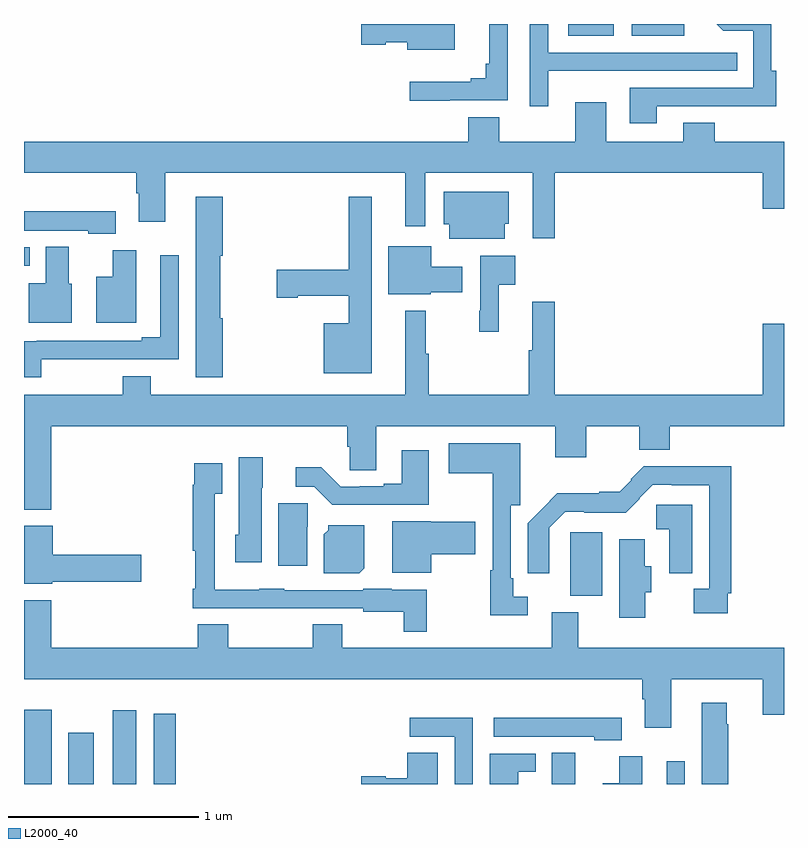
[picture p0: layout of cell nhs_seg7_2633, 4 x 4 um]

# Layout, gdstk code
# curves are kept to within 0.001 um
import gdstk
lib = gdstk.Library(unit=1e-6, precision=1e-09)
def R(c, l, rs):  # rectangles x0, y0, x1, y1
    for r in rs: c.add(gdstk.rectangle(r[:2], r[2:], *l))
def P(c, l, *ps):  # polygons
    for p in ps: c.add(gdstk.Polygon(p, *l))
L2000_40 = (2000, 40)

nhs_seg7_2633 = lib.new_cell('nhs_seg7_2633')
R(nhs_seg7_2633, L2000_40, [(281,1064,281.146,1064.392), (281.234,1064,281.368,1064.269), (281.468,1064,281.59,1064.389), (281.682,1064,281.798,1064.371), (283.778,1064,283.9,1064.164), (284.382,1064,284.478,1064.119), (283.874,1064.99,284.044,1065.324), (281,1066.728,281.029,1066.824), (283.865,1067.939,284.104,1068), (284.198,1067.939,284.476,1068)])
P(nhs_seg7_2633, L2000_40, [(283.267,1068),(282.774,1068),(282.774,1067.891),(282.903,1067.891),(282.903,1067.903),(283.016,1067.903),(283.016,1067.864),(283.267,1067.864)],
  [(283.759,1067.753),(284.093,1067.753),(284.093,1067.754),(284.753,1067.754),(284.753,1067.85),(283.758,1067.85),(283.758,1068),(283.662,1068),(283.662,1067.568),(283.759,1067.568)],
  [(283.241,1067.598),(283.545,1067.598),(283.545,1068),(283.448,1068),(283.448,1067.791),(283.429,1067.791),(283.429,1067.714),(283.352,1067.714),(283.352,1067.695),(283.029,1067.695),(283.029,1067.597),(283.241,1067.597)],
  [(284.329,1067.568),(284.959,1067.567),(284.959,1067.754),(284.934,1067.754),(284.934,1068),(284.645,1068),(284.681,1067.964),(284.838,1067.964),(284.838,1067.664),(284.189,1067.664),(284.189,1067.478),(284.329,1067.478)],
  [(283.793,1067.216),(284.888,1067.216),(284.888,1067.028),(285,1067.028),(285,1067.38),(284.635,1067.38),(284.635,1067.479),(284.471,1067.479),(284.471,1067.38),(284.065,1067.38),(284.065,1067.587),(283.901,1067.587),(283.901,1067.38),(283.501,1067.38),(283.501,1067.509),(283.337,1067.509),(283.337,1067.38),(281,1067.38),(281,1067.216),(281.591,1067.216),(281.591,1067.11),(281.603,1067.11),(281.603,1066.959),(281.743,1066.959),(281.743,1067.216),(283.007,1067.216),(283.007,1066.935),(283.111,1066.935),(283.111,1067.216),(283.677,1067.216),(283.677,1066.872),(283.793,1066.872)],
  [(283.531,1066.95),(283.552,1066.95),(283.552,1067.116),(283.208,1067.116),(283.208,1066.946),(283.238,1066.946),(283.238,1066.871),(283.531,1066.871)],
  [(282.047,1066.452),(282.034,1066.452),(282.034,1066.779),(282.047,1066.779),(282.047,1067.092),(281.903,1067.092),(281.903,1066.14),(282.047,1066.14)],
  [(282.829,1067.092),(282.708,1067.092),(282.708,1066.706),(282.33,1066.706),(282.33,1066.559),(282.442,1066.559),(282.442,1066.571),(282.708,1066.571),(282.708,1066.426),(282.578,1066.426),(282.578,1066.163),(282.829,1066.163)],
  [(281.482,1067.014),(281,1067.014),(281,1066.913),(281.337,1066.913),(281.337,1066.895),(281.482,1066.895)],
  [(283.14,1066.589),(283.306,1066.589),(283.306,1066.723),(283.144,1066.723),(283.144,1066.831),(282.917,1066.831),(282.917,1066.577),(283.14,1066.577)],
  [(281.251,1066.632),(281.236,1066.632),(281.236,1066.828),(281.114,1066.828),(281.114,1066.636),(281.024,1066.636),(281.024,1066.427),(281.251,1066.427)],
  [(281.59,1066.81),(281.468,1066.81),(281.468,1066.669),(281.381,1066.669),(281.381,1066.427),(281.59,1066.427)],
  [(281.091,1066.235),(281.432,1066.235),(281.432,1066.236),(281.814,1066.236),(281.814,1066.783),(281.718,1066.783),(281.718,1066.352),(281.621,1066.352),(281.621,1066.332),(281.068,1066.332),(281.068,1066.329),(281,1066.329),(281,1066.142),(281.091,1066.142)],
  [(283.499,1066.628),(283.585,1066.628),(283.585,1066.78),(283.401,1066.78),(283.401,1066.492),(283.396,1066.492),(283.396,1066.38),(283.499,1066.38)],
  [(283.796,1065.72),(283.96,1065.72),(283.96,1065.884),(284.237,1065.884),(284.237,1065.758),(284.398,1065.758),(284.398,1065.884),(285,1065.884),(285,1066.423),(284.888,1066.423),(284.888,1066.048),(283.793,1066.048),(283.793,1066.537),(283.676,1066.537),(283.676,1066.284),(283.657,1066.284),(283.657,1066.048),(283.129,1066.048),(283.129,1066.265),(283.114,1066.265),(283.114,1066.492),(283.007,1066.492),(283.007,1066.048),(281.668,1066.048),(281.668,1066.147),(281.521,1066.147),(281.521,1066.048),(281,1066.048),(281,1065.443),(281.144,1065.443),(281.144,1065.884),(282.701,1065.884),(282.701,1065.774),(282.714,1065.774),(282.714,1065.652),(282.853,1065.652),(282.853,1065.884),(283.796,1065.884)],
  [(283.651,1064.985),(283.575,1064.985),(283.575,1065.082),(283.563,1065.082),(283.563,1065.468),(283.613,1065.468),(283.613,1065.793),(283.236,1065.793),(283.236,1065.635),(283.467,1065.635),(283.467,1065.125),(283.455,1065.125),(283.455,1064.888),(283.651,1064.888)],
  [(283.129,1065.757),(282.989,1065.757),(282.989,1065.58),(282.893,1065.58),(282.893,1065.567),(282.766,1065.567),(282.766,1065.564),(282.666,1065.564),(282.564,1065.667),(282.429,1065.667),(282.429,1065.564),(282.528,1065.564),(282.622,1065.47),(283.129,1065.47)],
  [(282.25,1065.558),(282.256,1065.558),(282.256,1065.721),(282.131,1065.721),(282.131,1065.312),(282.113,1065.312),(282.113,1065.168),(282.25,1065.168)],
  [(283.12,1065.022),(282.936,1065.022),(282.936,1065.028),(282.786,1065.028),(282.786,1065.021),(282.369,1065.021),(282.369,1065.028),(282.237,1065.028),(282.237,1065.022),(282.003,1065.022),(282.003,1065.527),(282.043,1065.527),(282.043,1065.688),(281.895,1065.688),(281.895,1065.575),(281.887,1065.575),(281.887,1065.228),(281.902,1065.228),(281.902,1065.028),(281.887,1065.028),(281.887,1064.925),(282.137,1064.925),(282.137,1064.924),(282.369,1064.924),(282.369,1064.925),(282.786,1064.925),(282.786,1064.906),(282.999,1064.906),(282.999,1064.801),(283.12,1064.801)],
  [(284.703,1065.004),(284.723,1065.004),(284.723,1065.673),(284.263,1065.673),(284.193,1065.603),(284.197,1065.599),(284.135,1065.537),(284.027,1065.537),(284.027,1065.529),(283.807,1065.529),(283.652,1065.372),(283.652,1065.108),(283.764,1065.108),(283.764,1065.348),(283.848,1065.432),(283.948,1065.432),(283.948,1065.428),(284.167,1065.428),(284.241,1065.501),(284.238,1065.504),(284.31,1065.576),(284.41,1065.576),(284.41,1065.572),(284.607,1065.572),(284.607,1065.028),(284.524,1065.028),(284.524,1064.9),(284.703,1064.9)],
  [(282.49,1065.354),(282.494,1065.354),(282.494,1065.477),(282.338,1065.477),(282.338,1065.15),(282.49,1065.15)],
  [(284.518,1065.47),(284.328,1065.47),(284.328,1065.341),(284.396,1065.341),(284.396,1065.109),(284.518,1065.109)],
  [(283.144,1065.209),(283.375,1065.209),(283.375,1065.379),(283.14,1065.379),(283.14,1065.382),(282.938,1065.382),(282.938,1065.113),(283.144,1065.113)],
  [(282.79,1065.136),(282.79,1065.361),(282.6,1065.361),(282.6,1065.336),(282.578,1065.314),(282.578,1065.11),(282.764,1065.11)],
  [(281.148,1065.064),(281.617,1065.064),(281.617,1065.206),(281.152,1065.206),(281.152,1065.358),(281,1065.358),(281,1065.053),(281.148,1065.053)],
  [(284.269,1065.01),(284.302,1065.01),(284.302,1065.147),(284.266,1065.147),(284.266,1065.289),(284.132,1065.289),(284.132,1064.874),(284.269,1064.874)],
  [(284.407,1064.552),(284.888,1064.552),(284.888,1064.364),(285,1064.364),(285,1064.716),(283.918,1064.716),(283.918,1064.905),(283.778,1064.905),(283.778,1064.716),(282.675,1064.716),(282.675,1064.84),(282.52,1064.84),(282.52,1064.716),(282.075,1064.716),(282.075,1064.84),(281.915,1064.84),(281.915,1064.716),(281.144,1064.716),(281.144,1064.968),(281,1064.968),(281,1064.552),(284.255,1064.552),(284.255,1064.446),(284.267,1064.446),(284.267,1064.295),(284.407,1064.295)],
  [(284.706,1064.315),(284.698,1064.315),(284.698,1064.428),(284.567,1064.428),(284.567,1064),(284.706,1064)],
  [(284.146,1064.35),(283.473,1064.35),(283.473,1064.249),(284.001,1064.249),(284.001,1064.231),(284.146,1064.231)],
  [(283.362,1064.348),(283.029,1064.348),(283.029,1064.25),(283.266,1064.25),(283.266,1064),(283.362,1064)],
  [(283.177,1064.165),(283.016,1064.165),(283.016,1064.029),(282.903,1064.029),(282.903,1064.042),(282.774,1064.042),(282.774,1064),(283.177,1064)],
  [(283.6,1064.064),(283.693,1064.064),(283.693,1064.16),(283.451,1064.16),(283.451,1064),(283.6,1064)],
  [(284.254,1064.146),(284.132,1064.146),(284.132,1064.005),(284.045,1064.005),(284.045,1064),(284.254,1064)])

lib.write_gds('nhs_seg7_2633.gds')
